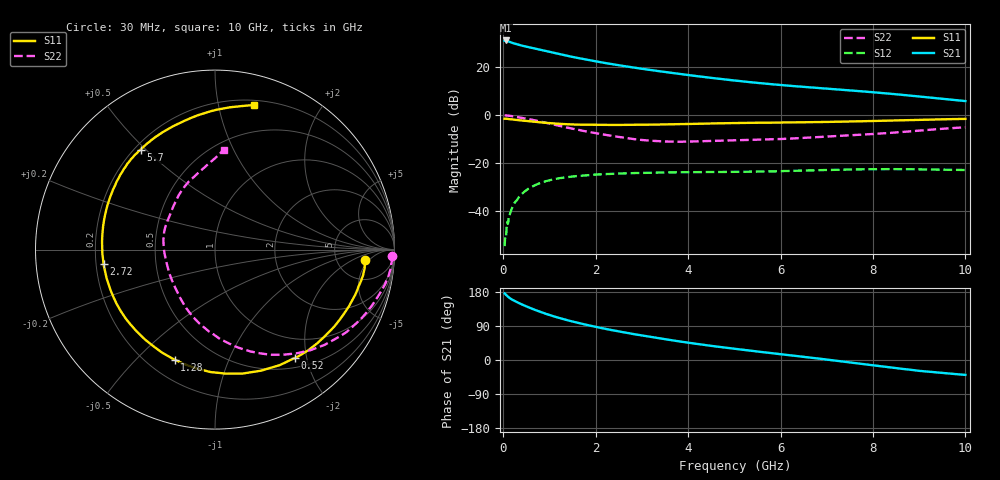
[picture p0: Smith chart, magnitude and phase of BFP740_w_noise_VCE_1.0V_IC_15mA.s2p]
! Infineon Technologies  Discrete & RF Semiconductors
! BFP740
! VCE =  1.0 V,  IC =  15 mA
! Common Emitter S-Parameters:  Jan 2016
# GHz  S  MA  R  50
!  f  S11  S21  S12  S22
! GHz  MAG  ANG  MAG  ANG  MAG  ANG  MAG  ANG
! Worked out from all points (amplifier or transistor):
!   229 points, 30 MHz to 10 GHz, reference 50 ohm
!   highest |S21| = 31.0 dB at 50 MHz (marker M1)
!   |S21| within 3 dB of that: start of sweep to 593.7 MHz
!   unconditionally stable (mu >= 1): 5.977 GHz to end of sweep
!   at 280 MHz: K = 0.18, MSG = 32.6 dB, |S12| = -35.7 dB
!   at 1.78 GHz: K = 0.41, MSG = 24.1 dB, |S12| = -25.0 dB
!   at 10 GHz: K = 1.13, MAG = 12.1 dB, |S12| = -22.8 dB
!   lowest NFmin = 0.59 dB at 450 MHz
!   S11 on the Smith chart (normalised r, x): 30 MHz: 10, -4; 520 MHz: 0.65, -1.80; 1.28 GHz: 0.31, -0.65; 2.72 GHz: 0.23, -0.06; 5.7 GHz: 0.22, +0.48; 10 GHz: 0.24, +1.28
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0.03  0.8398 -3.8  35.03 175.8  0.0019 77.4  0.9881 -2.2
0.05  0.8392 -6.2  35.39 173.3  0.003 86.1  0.9869 -4.1
0.11  0.829 -13.4  33.93 166.3  0.0061 84.4  0.9763 -9.1
0.2  0.8106 -22.9  31.44 158.8  0.0123 78.9  0.9464 -15.8
0.26  0.7976 -29.1  30.21 154.8  0.0157 74.3  0.9268 -19.9
0.34  0.7822 -36.8  28.63 150.1  0.0199 71.2  0.9012 -25.2
0.52  0.7499 -53.5  25.98 140.5  0.0285 62.6  0.8371 -36.2
0.7  0.7217 -69.2  23.75 131.7  0.0355 55.0  0.7725 -46.5
0.9  0.6935 -85.1  21.55 122.8  0.0419 47.6  0.6983 -57.0
1.1  0.6704 -99.0  19.46 114.9  0.0467 41.5  0.631 -66.5
1.28  0.6527 -110.2  17.8 108.6  0.05 36.8  0.577 -74.2
1.46  0.6405 -120.4  16.4 102.7  0.0526 32.8  0.5301 -81.3
1.7  0.6316 -132.9  14.78 95.6  0.0554 28.4  0.4753 -90.5
2.18  0.6249 -153.5  12.17 82.9  0.0593 20.9  0.3937 -108.3
2.72  0.6258 -172.6  10.03 70.7  0.062 14.7  0.3271 -127.3
3.4  0.6372 167.7  8.077 56.7  0.0642 8.6  0.2864 -153.1
4.2  0.6598 149.1  6.411 42.3  0.0653 3.0  0.2849 179.3
5.1  0.6848 134.1  5.098 28.1  0.0664 -1.7  0.3022 158.2
5.7  0.6939 126.7  4.466 19.6  0.0675 -3.9  0.3111 146.7
6.8  0.7163 113.9  3.654 4.1  0.0716 -8.9  0.3472 128.9
8.4  0.7709 91.9  2.758 -20.0  0.0755 -19.6  0.4288 104.4
10  0.8341 74.9  1.953 -39.3  0.0725 -27.7  0.559 85.1
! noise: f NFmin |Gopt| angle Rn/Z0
0.45  0.59  0.08  4  0.17
0.9  0.6  0.07  10  0.17
1.5  0.62  0.07  23  0.16
1.9  0.64  0.07  39  0.16
2.4  0.67  0.07  47  0.15
3.5  0.78  0.06  54  0.14
5.5  0.94  0.15  229  0.13
10  1.33  0.49  -69  0.17
